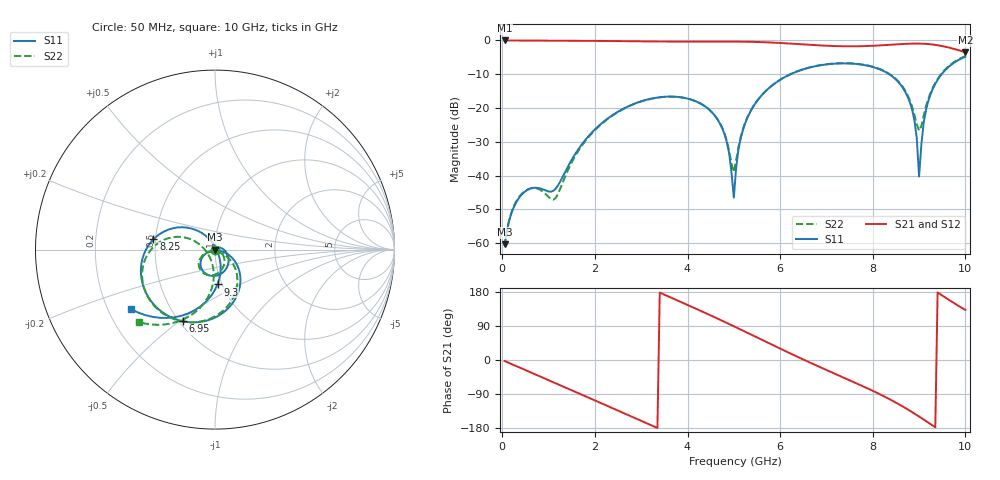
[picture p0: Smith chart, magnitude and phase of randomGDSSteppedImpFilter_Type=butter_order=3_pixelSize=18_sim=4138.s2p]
! freq	dB(S11)	phase(S11)	dB(S12)	phase(S12)
!  dB(S21)	phase(S21)	dB(S22)	phase(S22)
!S-par simulation data
#  GHz  S  DB  R 50
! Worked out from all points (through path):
!   200 points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, 50 MHz to 10 GHz, reference 50 ohm
!   highest |S21| = 0.00 dB at 50 MHz (marker M1); lowest = -3.5 dB at 10 GHz (marker M2)
!   group delay of S21, straight-line fit = 159 ps
!   lowest |S11| = -60.3 dB at 50 MHz (marker M3), VSWR 1.00, Z = 50 - j0.0859 ohm
!   |S11| at or under -10 dB: start of sweep to 6.224 GHz; 8.354 GHz to 9.488 GHz (1.134 GHz wide, 12.7 % of centre)
!   |S22| runs from -60.9 to -4.7 dB; largest |S21 - S12| = 0
!   S11 on the Smith chart (normalised r, x): 50 MHz: 1.00, -0.00; 6.95 GHz: 0.52, -0.52; 8.25 GHz: 0.49, +0.06; 9.3 GHz: 0.95, -0.38; 10 GHz: 0.30, -0.29
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0.05  -60.34 -63.3  -0.00 -2.7  -0.00 -2.7  -60.90 -56.9
0.35  -46.83 -112.6  -0.03 -18.7  -0.03 -18.7  -46.56 -98.2
1.15  -43.92 114.8  -0.07 -61.2  -0.07 -61.2  -46.68 -57.4
1.75  -30.18 20.0  -0.11 -93.3  -0.11 -93.3  -30.54 -21.8
2.65  -19.97 -41.0  -0.21 -141.7  -0.21 -141.7  -20.04 -60.2
3.4  -16.81 -84.7  -0.32 177.9  -0.32 177.9  -16.84 -97.2
4.5  -20.90 -145.7  -0.34 117.6  -0.34 117.6  -20.88 -150.7
4.85  -30.17 -160.4  -0.34 97.7  -0.34 97.7  -29.80 -156.4
5  -46.54 -76.0  -0.34 89.1  -0.34 89.1  -38.95 -88.5
5.05  -37.65 -21.6  -0.35 86.2  -0.35 86.2  -35.46 -49.6
5.2  -26.32 -15.3  -0.37 77.4  -0.37 77.4  -26.07 -29.3
5.5  -17.95 -30.0  -0.45 59.6  -0.45 59.6  -17.89 -38.3
6.7  -7.81 -99.9  -1.35 -9.9  -1.35 -9.9  -7.76 -101.6
6.95  -7.18 -114.0  -1.54 -23.6  -1.54 -23.6  -7.13 -114.5
8.25  -9.18 170.5  -1.39 -96.3  -1.39 -96.3  -9.06 179.3
8.35  -9.97 163.8  -1.30 -102.6  -1.30 -102.6  -9.83 174.0
8.85  -20.51 124.0  -0.94 -137.6  -0.94 -137.6  -19.60 159.0
8.95  -28.92 107.5  -0.93 -145.3  -0.93 -145.3  -24.82 179.1
9  -40.28 49.7  -0.93 -149.2  -0.93 -149.2  -26.72 -151.6
9.1  -24.26 -63.5  -0.98 -157.2  -0.98 -157.2  -22.22 -102.0
9.3  -14.23 -85.9  -1.22 -173.5  -1.22 -173.5  -13.85 -94.0
10  -4.83 -144.6  -3.49 132.2  -3.49 132.2  -4.66 -136.3
